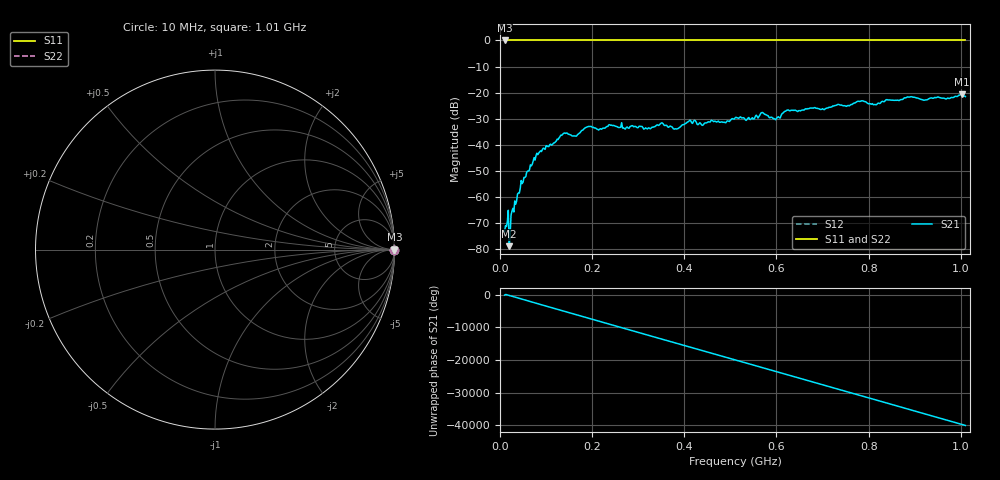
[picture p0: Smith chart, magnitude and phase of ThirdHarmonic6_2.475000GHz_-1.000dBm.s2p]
! 8/17/2025 4:34:56 AM
! C:\ANRITSUVNA\TEMP\TEMP.S2P
! CHANNEL.1
! TR.MEASUREMENT
! RAW.DATA
! RF.CORRECTION.OFF
! AVERAGING.OFF
! IF.BANDWIDTH: 5KHZ
! SWEEPTYPE:  FREQ.SWEEP(Linear)
! Reference Plane Port Info
! PORT:  PORT1  PORT2
! DISTANCE:  0  m  0  m
! TIME:  0  s  0  s
! PHASE.OFFSET:  0  deg.  0  deg.
! LOSS:  0  dB  0  dB
! REF.LOSS:  0  dB  0  dB
! REF.FREQ:  0  Hz  0  Hz
! Power Info
! POWER:  -20  dBm  -20  dBm
! EFF.POWER:  -20  dBm  -20  dBm
! SOURCE.ATTEN:  0  dB  0  dB
! TEST.ATTEN:  0  dB  0  dB
# GHZ S RI R 50.0
! FREQ.GHZ  S11RE  S11IM  S21RE  S21IM  S12RE  S12IM  S22RE  S22IM
!; PortSelection: Port_12
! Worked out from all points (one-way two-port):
!   501 points, 10 MHz to 1.01 GHz, reference 50 ohm
!   highest |S21| = -20.72 dB at 1.002 GHz (marker M1); lowest = -78.9 dB at 20 MHz (marker M2)
!   lowest |S11| = 0.0 dB at 10 MHz (marker M3)
!   |S11| at or under -10 dB: nowhere
!   |S22| runs from 0.0 to 0.0 dB; largest |S21 - S12| = 1.1
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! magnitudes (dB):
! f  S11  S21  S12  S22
! 10 MHz  0.0  -73.3  0.0  0.0
! 14 MHz  0.0  -71.4  0.0  0.0
! 20 MHz  0.0  -78.9  0.0  0.0
! 24 MHz  0.0  -66.9  0.0  0.0
! 48 MHz  0.0  -54.9  0.0  0.0
! 82 MHz  0.0  -43.8  0.0  0.0
! 136 MHz  0.0  -36.0  0.0  0.0
! 162 MHz  0.0  -36.6  0.0  0.0
! 178 MHz  0.0  -34.5  0.0  0.0
! 344 MHz  0.0  -32.6  0.0  0.0
! 382 MHz  0.0  -33.9  0.0  0.0
! 410 MHz  0.0  -31.0  0.0  0.0
! 440 MHz  0.0  -32.6  0.0  0.0
! 510 MHz  0.0  -29.8  0.0  0.0
! 548 MHz  0.0  -29.7  0.0  0.0
! 570 MHz  0.0  -27.6  0.0  0.0
! 596 MHz  0.0  -30.1  0.0  0.0
! 622 MHz  0.0  -26.8  0.0  0.0
! 678 MHz  0.0  -25.9  0.0  0.0
! 844 MHz  0.0  -22.8  0.0  0.0
! 1.002 GHz  0.0  -20.7  0.0  0.0
! 1.01 GHz  0.0  -21.5  0.0  0.0
